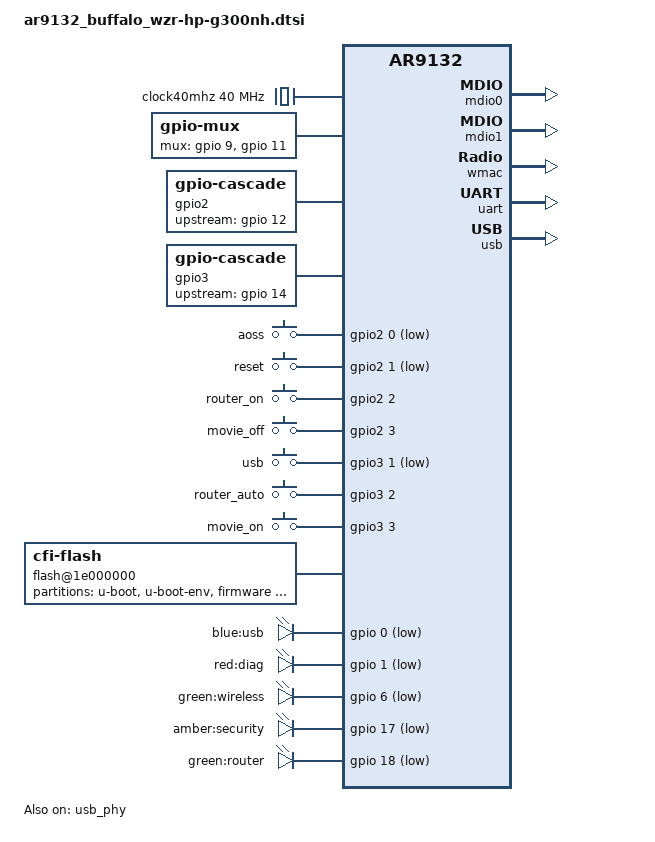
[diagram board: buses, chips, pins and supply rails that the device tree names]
// SPDX-License-Identifier: GPL-2.0-or-later OR MIT

#include "ar9132.dtsi"
#include <dt-bindings/gpio/gpio.h>
#include <dt-bindings/input/input.h>

/ {
	aliases {
		led-boot = &led_diag;
		led-failsafe = &led_security;
		led-upgrade = &led_diag;
	};

	clock40mhz: ref {
		compatible = "fixed-clock";
		#clock-cells = <0>;
		clock-frequency = <40000000>;
	};

	/* There is a GPIO driven NXP 74HC153 dual 4-way multiplexer on board
	 * used for buttons that are on top of the the device.
         */
	mux: mux-controller {
		compatible = "gpio-mux";
		#mux-control-cells = <0>;

		mux-gpios = <&gpio 9 GPIO_ACTIVE_HIGH>,		/* s0 */
			    <&gpio 11 GPIO_ACTIVE_HIGH>;	/* s1 */
	};

	gpio2: key-mux1 {
		compatible = "gpio-cascade";
		mux-controls = <&mux>;

		gpio-controller;
		#gpio-cells = <2>;

		// GPIOs used by this node, the mux pin
		upstream-gpios = <&gpio 12 GPIO_ACTIVE_HIGH>; /* 1y */
	};

	gpio3: key-mux2 {
		compatible = "gpio-cascade";
		mux-controls = <&mux>;

		gpio-controller;
		#gpio-cells = <2>;

		// GPIOs used by this node, the mux pin
		upstream-gpios = <&gpio 14 GPIO_ACTIVE_HIGH>; /* 2y */
	};

	keys {
		compatible = "gpio-keys-polled";
		poll-interval = <20>;

		aoss {
			label = "aoss";
			linux,code = <KEY_WPS_BUTTON>;
			gpios = <&gpio2 0 GPIO_ACTIVE_LOW>;
			debounce-interval = <60>;
		};

		reset {
			label = "reset";
			linux,code = <KEY_RESTART>;
			gpios = <&gpio2 1 GPIO_ACTIVE_LOW>;
			debounce-interval = <60>;
		};

		router_on {
			label = "router_on";
			linux,code = <BTN_5>;
			gpios = <&gpio2 2 GPIO_ACTIVE_HIGH>;
			debounce-interval = <60>;
		};

		movie_off {
			label = "movie_off";
			linux,code = <BTN_3>;
			gpios = <&gpio2 3 GPIO_ACTIVE_HIGH>;
			debounce-interval = <60>;
		};

		usb {
			label = "usb";
			linux,code = <BTN_2>;
			gpios = <&gpio3 1 GPIO_ACTIVE_LOW>;
			debounce-interval = <60>;
		};

		router_auto {
			label = "router_auto";
			linux,code = <BTN_6>;
			gpios = <&gpio3 2 GPIO_ACTIVE_HIGH>;
			debounce-interval = <60>;
		};

		movie_on {
			label = "movie_on";
			linux,code = <BTN_4>;
			gpios = <&gpio3 3 GPIO_ACTIVE_HIGH>;
			debounce-interval = <60>;
		};
	};

	flash@1e000000 {
		compatible = "cfi-flash";
		reg = <0x1e000000 0x2000000>;
		bank-width = <2>;
		device-width = <2>;

		partitions {
			compatible = "fixed-partitions";
			#address-cells = <1>;
			#size-cells = <1>;

			partition@0 {
				label = "u-boot";
				reg = <0x0000000 0x0040000>;
				read-only;
			};

			partition@40000 {
				label = "u-boot-env";
				reg = <0x0040000 0x0020000>;
				read-only;
			};

			partition@60000 {
				compatible = "denx,uimage";
				label = "firmware";
				reg = <0x0060000 0x1f60000>;
			};

			partition@1fc0000 {
				label = "user_property";
				reg = <0x1fc0000 0x0020000>;
				read-only;
			};

			art: partition@1fe0000 {
				label = "art";
				reg = <0x1fe0000 0x020000>;
				read-only;
			};
		};
	};

	leds {
		compatible = "gpio-leds";

		usb {
			label = "blue:usb";
			gpios = <&gpio 0 GPIO_ACTIVE_LOW>;
			trigger-sources = <&hub_port>;
			linux,default-trigger = "usbport";
		};

		led_diag: diag {
			label = "red:diag";
			gpios = <&gpio 1 GPIO_ACTIVE_LOW>;
		};

		wireless {
			label = "green:wireless";
			gpios = <&gpio 6 GPIO_ACTIVE_LOW>;
			linux,default-trigger = "phy0tpt";
		};

		led_security: security {
			label = "amber:security";
			gpios = <&gpio 17 GPIO_ACTIVE_LOW>;
		};

		router {
			label = "green:router";
			gpios = <&gpio 18 GPIO_ACTIVE_LOW>;
		};
	};

	switch: switch {
		status = "disabled";

		gpio-sda = <&gpio 19 GPIO_ACTIVE_HIGH>;
		gpio-sck = <&gpio 20 GPIO_ACTIVE_HIGH>;
		mii-bus = <&mdio0>;

		mdio-bus {
			status = "okay";

			#address-cells = <1>;
			#size-cells = <0>;
			phy-mask = <0x10>;

			phy4: ethernet-phy@4 {
				reg = <4>;
				phy-mode = "rgmii";
			};
		};
	};
};

&mdio0 {
	status = "okay";
};

&eth0 {
	status = "disabled";

	phy-mode = "rgmii";
	nvmem-cells = <&macaddr_art_1120c>;
	nvmem-cell-names = "mac-address";

	fixed-link {
		speed = <1000>;
		full-duplex;
	};
};

&mdio1 {
	status = "okay";
};

&eth1 {
	status = "disabled";

	compatible = "qca,ar9130-eth", "syscon";
	reg = <0x1a000000 0x200
		0x18070004 0x4>;

	pll-reg = <0x4 0x18 22>;
	pll-handle = <&pll>;

	phy-mode = "rgmii";
	phy-handle = <&phy4>;
	resets = <&rst 13>;
	reset-names = "mac";
	qca,mac-idx = <1>;
	nvmem-cells = <&macaddr_art_1120c>;
	nvmem-cell-names = "mac-address";
};

&wmac {
	status = "okay";

	mtd-cal-data = <&art 0x11000>;
};

&uart {
	status = "okay";
};

&pll {
	clocks = <&clock40mhz>;
};

&usb {
	status = "okay";

	#address-cells = <1>;
	#size-cells = <0>;

	hub_port: port@1 {
		reg = <1>;
		#trigger-source-cells = <0>;
	};
};

&usb_phy {
	status = "okay";
};

&art {
	compatible = "nvmem-cells";
	#address-cells = <1>;
	#size-cells = <1>;

	macaddr_art_1120c: macaddr@1120c {
		reg = <0x1120c 0x6>;
	};
};
